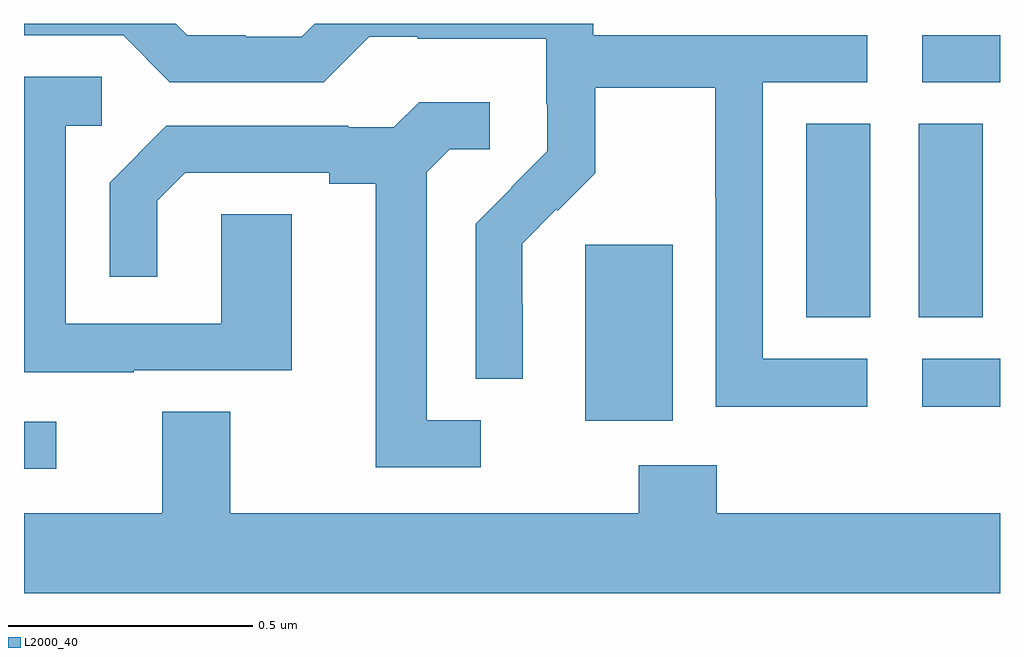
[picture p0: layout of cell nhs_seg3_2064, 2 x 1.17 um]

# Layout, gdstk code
import gdstk
lib = gdstk.Library(unit=1e-6, precision=1e-09)
def R(c, l, rs):  # rectangles x0, y0, x1, y1
    for r in rs: c.add(gdstk.rectangle(r[:2], r[2:], *l))
def P(c, l, *ps):  # polygons
    for p in ps: c.add(gdstk.Polygon(p, *l))
L2000_40 = (2000, 40)

nhs_seg3_2064 = lib.new_cell('nhs_seg3_2064')
R(nhs_seg3_2064, L2000_40, [(136,718.488,136.066,718.584), (137.15,718.586,137.329,718.947), (137.841,718.615,138,718.713), (137.603,718.798,137.734,719.195), (137.834,718.798,137.965,719.195), (137.841,719.28,138,719.376)])
P(nhs_seg3_2064, L2000_40, [(137.728,718.713),(137.514,718.713),(137.514,719.28),(137.728,719.28),(137.728,719.376),(137.166,719.376),(137.166,719.4),(136.596,719.4),(136.569,719.373),(136.454,719.373),(136.454,719.376),(136.335,719.376),(136.311,719.4),(136,719.4),(136,719.376),(136.203,719.376),(136.299,719.28),(136.614,719.28),(136.707,719.373),(136.807,719.373),(136.807,719.369),(137.07,719.369),(137.07,719.235),(137.072,719.235),(137.072,719.138),(136.998,719.064),(136.999,719.063),(136.926,718.99),(136.926,718.672),(137.022,718.672),(137.022,718.826),(137.021,718.826),(137.021,718.949),(137.091,719.019),(137.094,719.016),(137.171,719.093),(137.171,719.268),(137.416,719.268),(137.416,719.044),(137.418,719.044),(137.418,718.615),(137.728,718.615)],
  [(136.225,718.689),(136.549,718.689),(136.549,719.009),(136.404,719.009),(136.404,718.785),(136.086,718.785),(136.086,719.19),(136.159,719.19),(136.159,719.291),(136,719.291),(136,718.685),(136.225,718.685)],
  [(136.936,718.587),(136.825,718.587),(136.825,719.095),(136.872,719.142),(136.954,719.142),(136.954,719.239),(136.81,719.239),(136.758,719.187),(136.664,719.187),(136.664,719.19),(136.292,719.19),(136.176,719.074),(136.176,718.881),(136.273,718.881),(136.273,719.037),(136.33,719.094),(136.625,719.094),(136.625,719.072),(136.721,719.072),(136.721,718.491),(136.936,718.491)],
  [(138,718.396),(137.42,718.396),(137.42,718.495),(137.26,718.495),(137.26,718.396),(136.423,718.396),(136.423,718.604),(136.283,718.604),(136.283,718.396),(136,718.396),(136,718.232),(138,718.232)])

lib.write_gds('nhs_seg3_2064.gds')
